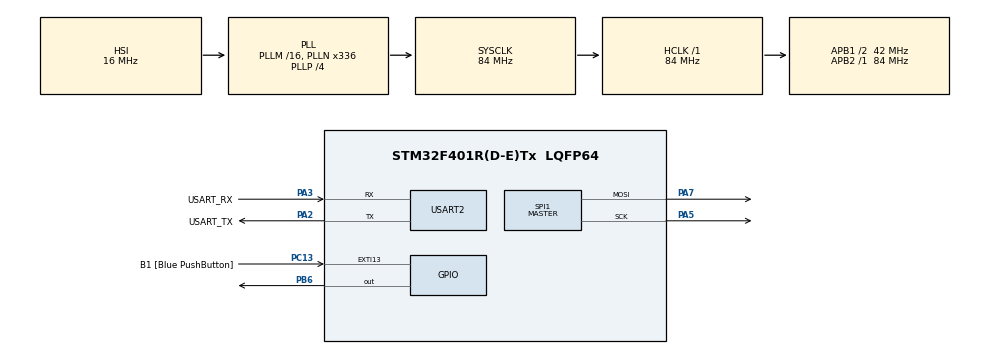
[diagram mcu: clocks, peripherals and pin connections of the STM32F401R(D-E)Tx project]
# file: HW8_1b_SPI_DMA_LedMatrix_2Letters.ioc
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Dma.Request0=SPI1_TX
Dma.SPI1_TX.0.Direction=DMA_MEMORY_TO_PERIPH
Dma.SPI1_TX.0.FIFOMode=DMA_FIFOMODE_DISABLE
Dma.SPI1_TX.0.Instance=DMA2_Stream3
Dma.SPI1_TX.0.MemDataAlignment=DMA_MDATAALIGN_BYTE
Dma.SPI1_TX.0.MemInc=DMA_MINC_ENABLE
Dma.SPI1_TX.0.Mode=DMA_NORMAL
Dma.SPI1_TX.0.PeriphDataAlignment=DMA_PDATAALIGN_BYTE
Dma.SPI1_TX.0.PeriphInc=DMA_PINC_DISABLE
Dma.SPI1_TX.0.Priority=DMA_PRIORITY_LOW
Mcu.Family=STM32F4
Mcu.Name=STM32F401R(D-E)Tx
Mcu.Package=LQFP64
NVIC.DMA2_Stream3_IRQn=true\:0\:0\:false\:false\:true\:false\:true\:true
NVIC.PriorityGroup=NVIC_PRIORITYGROUP_0
NVIC.TIM2_IRQn=true\:0\:0\:false\:false\:true\:true\:true\:true
NVIC.USART2_IRQn=true\:0\:0\:false\:false\:true\:true\:true\:true
PA13.GPIO_Label=TMS
PA13.Mode=Serial_Wire
PA13.Signal=SYS_JTMS-SWDIO
PA14.GPIO_Label=TCK
PA14.Mode=Serial_Wire
PA14.Signal=SYS_JTCK-SWCLK
PA2.GPIO_Label=USART_TX
PA2.GPIO_Mode=GPIO_MODE_AF_PP
PA2.GPIO_PuPd=GPIO_NOPULL
PA2.GPIO_Speed=GPIO_SPEED_FREQ_LOW
PA2.Mode=Asynchronous
PA2.Signal=USART2_TX
PA3.GPIO_Label=USART_RX
PA3.GPIO_Mode=GPIO_MODE_AF_PP
PA3.GPIO_PuPd=GPIO_NOPULL
PA3.GPIO_Speed=GPIO_SPEED_FREQ_LOW
PA3.Mode=Asynchronous
PA3.Signal=USART2_RX
PA5.Mode=TX_Only_Simplex_Unidirect_Master
PA5.Signal=SPI1_SCK
PA6.Signal=SPI1_MISO
PA7.Mode=TX_Only_Simplex_Unidirect_Master
PA7.Signal=SPI1_MOSI
PB3.GPIO_Label=SWO
PB3.Signal=SYS_JTDO-SWO
PB6.Signal=GPIO_Output
PC13-ANTI_TAMP.GPIO_Label=B1 [Blue PushButton]
PC13-ANTI_TAMP.GPIO_ModeDefaultEXTI=GPIO_MODE_IT_FALLING
PC13-ANTI_TAMP.GPIO_PuPd=GPIO_NOPULL
PC13-ANTI_TAMP.Signal=GPXTI13
PC14-OSC32_IN.Mode=LSE-External-Oscillator
PC14-OSC32_IN.Signal=RCC_OSC32_IN
PC15-OSC32_OUT.Mode=LSE-External-Oscillator
PC15-OSC32_OUT.Signal=RCC_OSC32_OUT
PH0\ -\ OSC_IN.Mode=HSE-External-Clock-Source
PH0\ -\ OSC_IN.Signal=RCC_OSC_IN
PH1\ -\ OSC_OUT.Mode=HSE-External-Clock-Source
PH1\ -\ OSC_OUT.Signal=RCC_OSC_OUT
ProjectManager.HeapSize=0x200
ProjectManager.StackSize=0x400
ProjectManager.TargetToolchain=STM32CubeIDE
RCC.48MHZClocksFreq_Value=48000000
RCC.AHBFreq_Value=84000000
RCC.APB1CLKDivider=RCC_HCLK_DIV2
RCC.APB1Freq_Value=42000000
RCC.APB1TimFreq_Value=84000000
RCC.APB2Freq_Value=84000000
RCC.APB2TimFreq_Value=84000000
RCC.CortexFreq_Value=84000000
RCC.HCLKFreq_Value=84000000
RCC.HSE_VALUE=8000000
RCC.HSI_VALUE=16000000
RCC.PLLN=336
RCC.PLLP=RCC_PLLP_DIV4
RCC.PLLQ=7
RCC.SYSCLKFreq_VALUE=84000000
RCC.SYSCLKSource=RCC_SYSCLKSOURCE_PLLCLK
RCC.VCOOutputFreq_Value=336000000
SPI1.BaudRatePrescaler=SPI_BAUDRATEPRESCALER_4
SPI1.Direction=SPI_DIRECTION_2LINES
SPI1.Mode=SPI_MODE_MASTER
SPI1.VirtualType=VM_MASTER
TIM2.Period=4000-1
TIM2.Prescaler=84-1
USART2.VirtualMode=VM_ASYNC
VP_TIM2_VS_ClockSourceINT.Mode=Internal
board=NUCLEO-F401RE

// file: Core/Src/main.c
/* USER CODE BEGIN Header */
/**
  ******************************************************************************
  * @file           : main.c
  * @brief          : Main program body
  ******************************************************************************
  * @attention
  *
  * Copyright (c) 2022 STMicroelectronics.
  * All rights reserved.
  *
  * This software is licensed under terms that can be found in the LICENSE file
  * in the root directory of this software component.
  * If no LICENSE file comes with this software, it is provided AS-IS.
  *
  ******************************************************************************
  */
/* USER CODE END Header */
#include "main.h"

/* USER CODE BEGIN PD */

#define COL1 1
#define COL2 2
#define COL3 4
#define COL4 8
#define COL5 16

//length of the sequence of symbols
#define length 2

/* USER CODE END PD */

SPI_HandleTypeDef hspi1;
DMA_HandleTypeDef hdma_spi1_tx;

TIM_HandleTypeDef htim2;

UART_HandleTypeDef huart2;

/* USER CODE BEGIN PV */

int columnIndex;
int characterIndex;

struct character{
	uint8_t row;
	uint8_t col;
};

struct character A[] = {
	{31,COL1},
	{36,COL2},
	{68,COL3},
	{36,COL4},
	{31,COL5}
};

struct character B[] = {
	{62,COL1},
	{73,COL2},
	{73,COL3},
	{73,COL4},
	{127,COL5}
};

//collection of characters to be printed
struct character *word[length];

void HAL_TIM_PeriodElapsedCallback(TIM_HandleTypeDef* htim){
	//update the columns
	if(htim == &htim2){
		HAL_SPI_Transmit_DMA(&hspi1,(uint8_t*)(word[characterIndex] + columnIndex) , 2);
	}
}

void HAL_SPI_TxCpltCallback(SPI_HandleTypeDef *hspi){
	if(hspi == &hspi1){
		//toggle RCLK here since Transmit_DMA is nonblocking
		HAL_GPIO_WritePin(GPIOB, GPIO_PIN_6, 1);

		if(columnIndex == 4)
			columnIndex = 0;
		else
			columnIndex ++;

		//reset RCLK (pulse)
		HAL_GPIO_WritePin(GPIOB, GPIO_PIN_6, 0);
		//restart timer
		HAL_TIM_Base_Start_IT(&htim2);

	}
}

/* USER CODE END PV */

void SystemClock_Config(void);
static void MX_GPIO_Init(void);
static void MX_DMA_Init(void);
static void MX_USART2_UART_Init(void);
static void MX_SPI1_Init(void);
static void MX_TIM2_Init(void);

int main(void)
{

  /* MCU Configuration--------------------------------------------------------*/

  /* Reset of all peripherals, Initializes the Flash interface and the Systick. */
  HAL_Init();

  /* Configure the system clock */
  SystemClock_Config();

  /* Initialize all configured peripherals */
  MX_GPIO_Init();
  MX_DMA_Init();
  MX_USART2_UART_Init();
  MX_SPI1_Init();
  MX_TIM2_Init();
  /* USER CODE BEGIN 2 */

  //initializes the indexes to zero
  columnIndex = 0;
  characterIndex = 0;

  //compose the sequence to be print
  word[0] = A;
  word[1] = B;

  HAL_TIM_Base_Start_IT(&htim2);

  /* USER CODE END 2 */

  /* Infinite loop */
  while (1)
  {

    /* USER CODE BEGIN 3 */

	  //display letter for 1 second
	  HAL_Delay(1000);

	  //change letter
	  if(characterIndex == length - 1)
		  	 characterIndex = 0;
	  else
		  characterIndex ++;
  }
  /* USER CODE END 3 */
}

void SystemClock_Config(void)
{
  RCC_OscInitTypeDef RCC_OscInitStruct = {0};
  RCC_ClkInitTypeDef RCC_ClkInitStruct = {0};

  /** Configure the main internal regulator output voltage
  */
  __HAL_RCC_PWR_CLK_ENABLE();
  __HAL_PWR_VOLTAGESCALING_CONFIG(PWR_REGULATOR_VOLTAGE_SCALE2);

  /** Initializes the RCC Oscillators according to the specified parameters
  * in the RCC_OscInitTypeDef structure.
  */
  RCC_OscInitStruct.OscillatorType = RCC_OSCILLATORTYPE_HSI;
  RCC_OscInitStruct.HSIState = RCC_HSI_ON;
  RCC_OscInitStruct.HSICalibrationValue = RCC_HSICALIBRATION_DEFAULT;
  RCC_OscInitStruct.PLL.PLLState = RCC_PLL_ON;
  RCC_OscInitStruct.PLL.PLLSource = RCC_PLLSOURCE_HSI;
  RCC_OscInitStruct.PLL.PLLM = 16;
  RCC_OscInitStruct.PLL.PLLN = 336;
  RCC_OscInitStruct.PLL.PLLP = RCC_PLLP_DIV4;
  RCC_OscInitStruct.PLL.PLLQ = 7;
  if (HAL_RCC_OscConfig(&RCC_OscInitStruct) != HAL_OK)
  {
    Error_Handler();
  }

  /** Initializes the CPU, AHB and APB buses clocks
  */
  RCC_ClkInitStruct.ClockType = RCC_CLOCKTYPE_HCLK|RCC_CLOCKTYPE_SYSCLK
                              |RCC_CLOCKTYPE_PCLK1|RCC_CLOCKTYPE_PCLK2;
  RCC_ClkInitStruct.SYSCLKSource = RCC_SYSCLKSOURCE_PLLCLK;
  RCC_ClkInitStruct.AHBCLKDivider = RCC_SYSCLK_DIV1;
  RCC_ClkInitStruct.APB1CLKDivider = RCC_HCLK_DIV2;
  RCC_ClkInitStruct.APB2CLKDivider = RCC_HCLK_DIV1;

  if (HAL_RCC_ClockConfig(&RCC_ClkInitStruct, FLASH_LATENCY_2) != HAL_OK)
  {
    Error_Handler();
  }
}

static void MX_SPI1_Init(void)
{

  /* SPI1 parameter configuration*/
  hspi1.Instance = SPI1;
  hspi1.Init.Mode = SPI_MODE_MASTER;
  hspi1.Init.Direction = SPI_DIRECTION_2LINES;
  hspi1.Init.DataSize = SPI_DATASIZE_8BIT;
  hspi1.Init.CLKPolarity = SPI_POLARITY_LOW;
  hspi1.Init.CLKPhase = SPI_PHASE_1EDGE;
  hspi1.Init.NSS = SPI_NSS_SOFT;
  hspi1.Init.BaudRatePrescaler = SPI_BAUDRATEPRESCALER_4;
  hspi1.Init.FirstBit = SPI_FIRSTBIT_MSB;
  hspi1.Init.TIMode = SPI_TIMODE_DISABLE;
  hspi1.Init.CRCCalculation = SPI_CRCCALCULATION_DISABLE;
  hspi1.Init.CRCPolynomial = 10;
  if (HAL_SPI_Init(&hspi1) != HAL_OK)
  {
    Error_Handler();
  }

}

static void MX_TIM2_Init(void)
{

  TIM_ClockConfigTypeDef sClockSourceConfig = {0};
  TIM_MasterConfigTypeDef sMasterConfig = {0};

  htim2.Instance = TIM2;
  htim2.Init.Prescaler = 84-1;
  htim2.Init.CounterMode = TIM_COUNTERMODE_UP;
  htim2.Init.Period = 4000-1;
  htim2.Init.ClockDivision = TIM_CLOCKDIVISION_DIV1;
  htim2.Init.AutoReloadPreload = TIM_AUTORELOAD_PRELOAD_DISABLE;
  if (HAL_TIM_Base_Init(&htim2) != HAL_OK)
  {
    Error_Handler();
  }
  sClockSourceConfig.ClockSource = TIM_CLOCKSOURCE_INTERNAL;
  if (HAL_TIM_ConfigClockSource(&htim2, &sClockSourceConfig) != HAL_OK)
  {
    Error_Handler();
  }
  sMasterConfig.MasterOutputTrigger = TIM_TRGO_RESET;
  sMasterConfig.MasterSlaveMode = TIM_MASTERSLAVEMODE_DISABLE;
  if (HAL_TIMEx_MasterConfigSynchronization(&htim2, &sMasterConfig) != HAL_OK)
  {
    Error_Handler();
  }

}

static void MX_USART2_UART_Init(void)
{

  huart2.Instance = USART2;
  huart2.Init.BaudRate = 115200;
  huart2.Init.WordLength = UART_WORDLENGTH_8B;
  huart2.Init.StopBits = UART_STOPBITS_1;
  huart2.Init.Parity = UART_PARITY_NONE;
  huart2.Init.Mode = UART_MODE_TX_RX;
  huart2.Init.HwFlowCtl = UART_HWCONTROL_NONE;
  huart2.Init.OverSampling = UART_OVERSAMPLING_16;
  if (HAL_UART_Init(&huart2) != HAL_OK)
  {
    Error_Handler();
  }

}

static void MX_DMA_Init(void)
{

  /* DMA controller clock enable */
  __HAL_RCC_DMA2_CLK_ENABLE();

  /* DMA interrupt init */
  /* DMA2_Stream3_IRQn interrupt configuration */
  HAL_NVIC_SetPriority(DMA2_Stream3_IRQn, 0, 0);
  HAL_NVIC_EnableIRQ(DMA2_Stream3_IRQn);

}

static void MX_GPIO_Init(void)
{
  GPIO_InitTypeDef GPIO_InitStruct = {0};

  /* GPIO Ports Clock Enable */
  __HAL_RCC_GPIOC_CLK_ENABLE();
  __HAL_RCC_GPIOH_CLK_ENABLE();
  __HAL_RCC_GPIOA_CLK_ENABLE();
  __HAL_RCC_GPIOB_CLK_ENABLE();

  /*Configure GPIO pin Output Level */
  HAL_GPIO_WritePin(GPIOB, GPIO_PIN_6, GPIO_PIN_RESET);

  /*Configure GPIO pin : B1_Pin */
  GPIO_InitStruct.Pin = B1_Pin;
  GPIO_InitStruct.Mode = GPIO_MODE_IT_FALLING;
  GPIO_InitStruct.Pull = GPIO_NOPULL;
  HAL_GPIO_Init(B1_GPIO_Port, &GPIO_InitStruct);

  /*Configure GPIO pin : PB6 */
  GPIO_InitStruct.Pin = GPIO_PIN_6;
  GPIO_InitStruct.Mode = GPIO_MODE_OUTPUT_PP;
  GPIO_InitStruct.Pull = GPIO_NOPULL;
  GPIO_InitStruct.Speed = GPIO_SPEED_FREQ_LOW;
  HAL_GPIO_Init(GPIOB, &GPIO_InitStruct);

}

void Error_Handler(void)
{
  __disable_irq();
  while (1)
  {
  }
}
